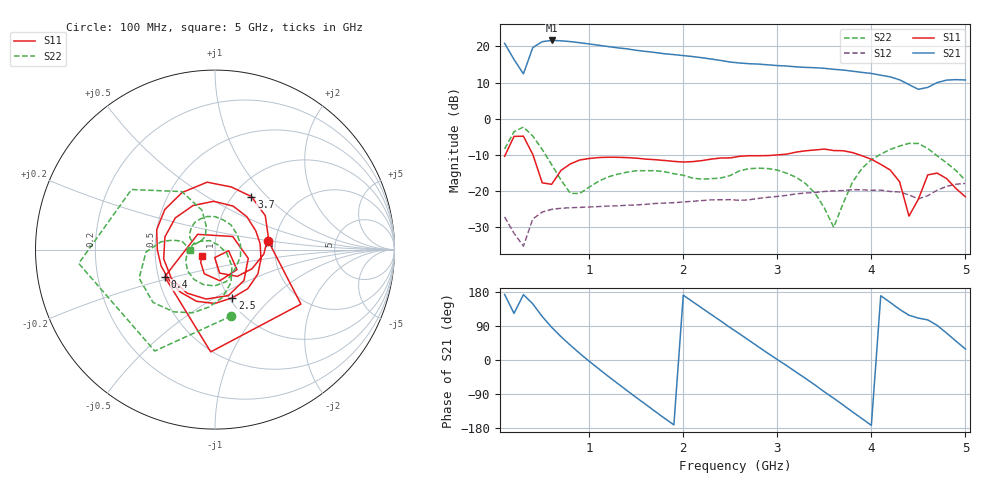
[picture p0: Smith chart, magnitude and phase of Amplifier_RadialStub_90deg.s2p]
! Touchstone file from project Amplifier
! Exported from Circuit Design 2018.0.0
! Variables:
!  $width = 2.99067mm
# GHZ S MA R 50.000000
! Modal data exported
! Port[1] = Port1
! Port[2] = Port2
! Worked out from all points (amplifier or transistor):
!   50 points, 100 MHz to 5 GHz, reference 50 ohm
!   highest |S21| = 21.7 dB at 600 MHz (marker M1)
!   |S21| within 3 dB of that: 385.8 MHz to 1.588 GHz (1.202 GHz wide, 122 % of centre)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
!   unconditionally stable (mu >= 1): start of sweep to end of sweep
!   at 900 MHz: K = 1.05, MAG = 21.5 dB, |S12| = -24.6 dB
!   at 2.6 GHz: K = 1.24, MAG = 16.1 dB, |S12| = -22.7 dB
!   at 5 GHz: K = 1.33, MAG = 10.9 dB, |S12| = -18.0 dB
!   S11 on the Smith chart (normalised r, x): 100 MHz: 1.83, +0.20; 400 MHz: 0.54, -0.18; 2.5 GHz: 1.03, -0.60; 3.7 GHz: 1.21, +0.82; 5 GHz: 0.86, -0.06
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0.1  0.3002 9.4  11.06 172.9  0.04337 1.5  0.3807 -76.1
! Port Impedance50 0 50 0
0.2  0.5669 -32.4  6.595 123.0  0.02571 -40.4  0.6573 -120.7
0.3  0.5705 -92.4  4.174 172.4  0.01704 16.6  0.7631 -174.2
0.4  0.3182 -151.6  9.669 148.2  0.04064 0.2  0.5732 144.3
0.5  0.1288 138.7  11.65 114.8  0.05071 -26.1  0.3724 119.8
0.6  0.1227 36.4  12.12 86.4  0.05516 -47.6  0.2308 108.3
0.8  0.2357 -46.7  11.67 38.8  0.05817 -82.6  0.09189 125.5
1  0.2799 -100.1  10.83 -3.5  0.05947 -112.8  0.1126 163.4
1.2  0.2914 -146.6  9.976 -42.7  0.06131 -141.6  0.1556 154.6
1.4  0.2879 165.8  9.27 -80.4  0.06298 -169.6  0.1808 136.4
1.8  0.2627 67.4  7.926 -153.6  0.0675 134.9  0.1837 89.6
2  0.25 24.7  7.477 171.0  0.06988 106.5  0.1642 57.3
2.2  0.2617 -11.4  6.979 136.7  0.073 79.6  0.1446 11.9
2.5  0.2853 -70.3  6.075 85.2  0.07518 38.3  0.1627 -52.7
2.6  0.3002 -90.2  5.901 68.7  0.07358 25.2  0.1892 -70.7
3  0.3137 -163.2  5.439 1.2  0.08339 -30.7  0.1936 -142.3
3.4  0.3671 120.0  5.071 -65.9  0.0945 -88.4  0.093 150.2
3.7  0.3584 55.5  4.716 -118.8  0.1006 -133.3  0.06691 -15.6
4  0.2733 -5.3  4.229 -172.5  0.1016 178.2  0.2697 -81.1
4.2  0.1939 -50.3  3.792 151.9  0.09761 146.3  0.3733 -109.5
4.8  0.1474 -114.0  3.418 71.0  0.1148 77.5  0.2436 167.5
5  0.08248 -153.5  3.427 29.1  0.1263 37.8  0.1388 -179.8
